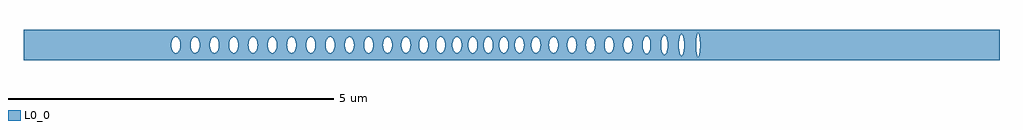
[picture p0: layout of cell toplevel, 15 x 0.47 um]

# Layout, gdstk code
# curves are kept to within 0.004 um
import gdstk
lib = gdstk.Library(unit=1e-6, precision=1e-09)
def P(c, l, *ps):  # polygons
    for p in ps: c.add(gdstk.Polygon(p, *l))
L0_0 = (0, 0)

toplevel = lib.new_cell('toplevel')
P(toplevel, L0_0, [(-4.611,-0.235),(-4.611,-0.096),(-4.628,-0.06),(-4.636,-0.016),(-4.632,0.046),(-4.611,0.096),(-4.611,0.235),(-7.5,0.235),(-7.5,-0.016),(-5.229,-0.016),(-5.226,0.038),(-5.216,0.073),(-5.193,0.109),(-5.163,0.124),(-5.137,0.118),(-5.114,0.096),(-5.093,0.046),(-5.089,-0.008),(-4.933,-0.008),(-4.93,0.038),(-4.917,0.079),(-4.896,0.109),(-4.867,0.124),(-4.841,0.118),(-4.814,0.09),(-4.797,0.046),(-4.792,0.008),(-4.795,-0.038),(-4.805,-0.073),(-4.832,-0.112),(-4.858,-0.124),(-4.884,-0.118),(-4.911,-0.09),(-4.928,-0.046),(-4.933,-0.008),(-5.089,-0.008),(-5.093,-0.046),(-5.114,-0.096),(-5.137,-0.118),(-5.155,-0.124),(-5.181,-0.118),(-5.204,-0.096),(-5.221,-0.06),(-5.229,-0.016),(-7.5,-0.016),(-7.5,-0.235)],
  [(-4.043,0.016),(-4.033,0.066),(-4.011,0.105),(-3.986,0.122),(-3.96,0.122),(-3.96,0.235),(-4.611,0.235),(-4.611,0.096),(-4.588,0.118),(-4.57,0.124),(-4.553,0.122),(-4.532,0.109),(-4.504,0.06),(-4.496,-0.008),(-4.34,-0.008),(-4.337,0.038),(-4.327,0.073),(-4.3,0.112),(-4.274,0.124),(-4.248,0.118),(-4.221,0.09),(-4.204,0.046),(-4.199,0.008),(-4.201,-0.031),(-4.215,-0.079),(-4.236,-0.109),(-4.265,-0.124),(-4.291,-0.118),(-4.318,-0.09),(-4.335,-0.046),(-4.34,-0.008),(-4.496,-0.008),(-4.504,-0.06),(-4.532,-0.109),(-4.553,-0.122),(-4.57,-0.124),(-4.588,-0.118),(-4.611,-0.096),(-4.611,-0.235),(-3.96,-0.235),(-3.96,-0.122),(-3.991,-0.12),(-4.018,-0.096),(-4.039,-0.046)],
  [(-3.45,0.016),(-3.446,0.046),(-3.431,0.085),(-3.414,0.109),(-3.393,0.122),(-3.367,0.122),(-3.346,0.109),(-3.316,0.053),(-3.316,0.235),(-3.96,0.235),(-3.96,0.122),(-3.935,0.105),(-3.916,0.073),(-3.906,0.038),(-3.903,-0.008),(-3.747,-0.008),(-3.744,0.038),(-3.734,0.073),(-3.711,0.109),(-3.681,0.124),(-3.655,0.118),(-3.628,0.09),(-3.611,0.046),(-3.606,0.008),(-3.608,-0.031),(-3.622,-0.079),(-3.643,-0.109),(-3.672,-0.124),(-3.703,-0.115),(-3.725,-0.09),(-3.742,-0.046),(-3.747,-0.008),(-3.903,-0.008),(-3.916,-0.073),(-3.935,-0.105),(-3.96,-0.122),(-3.96,-0.235),(-3.316,-0.235),(-3.316,-0.053),(-3.346,-0.109),(-3.376,-0.124),(-3.402,-0.118),(-3.425,-0.096),(-3.44,-0.066)],
  [(-3.312,-0.031),(-3.316,-0.235),(-2.552,-0.235),(-2.552,-0.06),(-2.561,-0.016),(-2.552,0.059),(-2.552,0.235),(-3.316,0.235),(-3.316,0.051),(-3.31,-0.016),(-3.154,-0.016),(-3.151,0.038),(-3.141,0.073),(-3.118,0.109),(-3.088,0.124),(-3.062,0.118),(-3.035,0.09),(-3.018,0.046),(-3.013,0),(-2.858,0),(-2.853,0.046),(-2.832,0.096),(-2.809,0.118),(-2.783,0.124),(-2.765,0.118),(-2.742,0.096),(-2.725,0.06),(-2.717,0.016),(-2.718,-0.026),(-2.73,-0.073),(-2.749,-0.105),(-2.774,-0.122),(-2.805,-0.12),(-2.832,-0.096),(-2.853,-0.046),(-2.858,0),(-3.013,0),(-3.018,-0.046),(-3.032,-0.085),(-3.05,-0.109),(-3.079,-0.124),(-3.105,-0.118),(-3.129,-0.096),(-3.141,-0.073),(-3.154,-0.016),(-3.31,-0.016)],
  [(-2.55,0.066),(-2.525,0.109),(-2.504,0.122),(-2.477,0.122),(-2.453,0.105),(-2.436,0.079),(-2.422,0.031),(-2.42,-0.008),(-2.266,-0.008),(-2.261,0.046),(-2.247,0.085),(-2.217,0.118),(-2.191,0.124),(-2.161,0.109),(-2.144,0.085),(-2.128,0.038),(-2.125,-0.008),(-2.128,-0.038),(-2.144,-0.085),(-2.161,-0.109),(-2.191,-0.124),(-2.217,-0.118),(-2.244,-0.09),(-2.261,-0.046),(-2.266,-0.008),(-2.42,-0.008),(-2.425,-0.046),(-2.439,-0.085),(-2.457,-0.109),(-2.486,-0.124),(-2.504,-0.122),(-2.525,-0.109),(-2.552,-0.06),(-2.552,-0.235),(-1.914,-0.235),(-1.914,-0.123),(-1.95,-0.096),(-1.967,-0.06),(-1.975,-0.016),(-1.972,0.038),(-1.962,0.073),(-1.943,0.105),(-1.914,0.123),(-1.914,0.235),(-2.552,0.235)],
  [(-1.42,0.016),(-1.407,0.073),(-1.395,0.096),(-1.372,0.118),(-1.355,0.124),(-1.328,0.118),(-1.299,0.085),(-1.299,0.235),(-1.914,0.235),(-1.914,0.123),(-1.883,0.118),(-1.853,0.085),(-1.839,0.046),(-1.835,-0.008),(-1.693,-0.008),(-1.691,0.031),(-1.677,0.079),(-1.656,0.109),(-1.627,0.124),(-1.601,0.118),(-1.577,0.096),(-1.565,0.073),(-1.552,0.016),(-1.555,-0.038),(-1.565,-0.073),(-1.588,-0.109),(-1.618,-0.124),(-1.644,-0.118),(-1.671,-0.09),(-1.688,-0.046),(-1.693,-0.008),(-1.835,-0.008),(-1.839,-0.046),(-1.86,-0.096),(-1.883,-0.118),(-1.914,-0.123),(-1.914,-0.235),(-1.299,-0.235),(-1.299,-0.085),(-1.316,-0.109),(-1.337,-0.122),(-1.363,-0.122),(-1.384,-0.109),(-1.412,-0.06)],
  [(-0.665,-0.008),(-0.664,0.235),(-1.299,0.235),(-1.299,0.085),(-1.283,0.038),(-1.28,-0.016),(-1.159,-0.016),(-1.156,0.038),(-1.146,0.073),(-1.123,0.109),(-1.093,0.124),(-1.067,0.118),(-1.037,0.085),(-1.023,0.046),(-1.018,-0.008),(-0.908,-0.008),(-0.906,0.031),(-0.892,0.079),(-0.871,0.109),(-0.842,0.124),(-0.816,0.118),(-0.789,0.09),(-0.772,0.046),(-0.767,0.008),(-0.77,-0.038),(-0.78,-0.073),(-0.807,-0.112),(-0.833,-0.124),(-0.859,-0.118),(-0.886,-0.09),(-0.903,-0.046),(-0.908,-0.008),(-1.018,-0.008),(-1.023,-0.046),(-1.037,-0.085),(-1.055,-0.109),(-1.084,-0.124),(-1.11,-0.118),(-1.134,-0.096),(-1.146,-0.073),(-1.159,-0.016),(-1.28,-0.016),(-1.286,-0.053),(-1.299,-0.085),(-1.299,-0.235),(-0.664,-0.235)],
  [(-0.661,0.038),(-0.649,0.079),(-0.632,0.105),(-0.608,0.122),(-0.585,0.123),(-0.56,0.109),(-0.537,0.073),(-0.527,0.038),(-0.524,-0.016),(-0.426,-0.016),(-0.423,0.038),(-0.407,0.085),(-0.378,0.118),(-0.351,0.124),(-0.322,0.109),(-0.304,0.085),(-0.29,0.046),(-0.285,0),(-0.29,-0.046),(-0.304,-0.085),(-0.322,-0.109),(-0.351,-0.124),(-0.378,-0.118),(-0.401,-0.096),(-0.418,-0.06),(-0.426,-0.016),(-0.524,-0.016),(-0.537,-0.073),(-0.549,-0.096),(-0.568,-0.115),(-0.59,-0.124),(-0.616,-0.118),(-0.636,-0.1),(-0.654,-0.066),(-0.664,-0.026),(-0.664,-0.235),(-0.145,-0.235),(-0.145,-0.115),(-0.164,-0.096),(-0.176,-0.073),(-0.189,-0.016),(-0.186,0.038),(-0.176,0.073),(-0.164,0.096),(-0.145,0.115),(-0.145,0.235),(-0.664,0.235)],
  [(0.306,0.016),(0.321,0.079),(0.342,0.109),(0.362,0.122),(0.38,0.124),(0.402,0.115),(0.417,0.1),(0.417,0.235),(-0.145,0.235),(-0.145,0.115),(-0.114,0.124),(-0.097,0.118),(-0.077,0.1),(-0.053,0.046),(-0.048,-0.008),(0.052,-0.008),(0.055,0.038),(0.065,0.073),(0.088,0.109),(0.118,0.124),(0.144,0.118),(0.171,0.09),(0.188,0.046),(0.193,0.008),(0.191,-0.031),(0.177,-0.079),(0.156,-0.109),(0.127,-0.124),(0.096,-0.115),(0.074,-0.09),(0.057,-0.046),(0.052,-0.008),(-0.048,-0.008),(-0.059,-0.066),(-0.081,-0.105),(-0.114,-0.124),(-0.145,-0.115),(-0.145,-0.235),(0.417,-0.235),(0.417,-0.1),(0.402,-0.115),(0.38,-0.124),(0.362,-0.122),(0.338,-0.105),(0.321,-0.079),(0.31,-0.046)],
  [(0.417,0.235),(0.417,0.1),(0.441,0.046),(0.446,-0.008),(0.575,-0.008),(0.58,0.046),(0.591,0.079),(0.612,0.109),(0.641,0.124),(0.668,0.118),(0.691,0.096),(0.71,0.053),(0.716,0.016),(0.713,-0.038),(0.703,-0.073),(0.68,-0.109),(0.65,-0.124),(0.624,-0.118),(0.601,-0.096),(0.584,-0.06),(0.575,-0.008),(0.446,-0.008),(0.433,-0.073),(0.417,-0.1),(0.417,-0.235),(0.998,-0.235),(0.998,-0.016),(0.99,-0.06),(0.973,-0.096),(0.95,-0.118),(0.932,-0.124),(0.906,-0.118),(0.883,-0.096),(0.866,-0.06),(0.858,-0.016),(0.861,0.038),(0.871,0.073),(0.89,0.105),(0.919,0.123),(0.946,0.12),(0.973,0.096),(0.99,0.06),(0.998,0.016),(0.998,0.235)],
  [(1.72,0.023),(1.741,0.09),(1.741,0.235),(0.998,0.235),(0.998,-0.016),(1.144,-0.016),(1.147,0.038),(1.157,0.073),(1.18,0.109),(1.21,0.124),(1.236,0.118),(1.266,0.085),(1.28,0.046),(1.284,-0.016),(1.43,-0.016),(1.433,0.038),(1.443,0.073),(1.466,0.109),(1.496,0.124),(1.522,0.118),(1.545,0.096),(1.562,0.06),(1.571,0.008),(1.566,-0.046),(1.555,-0.079),(1.534,-0.109),(1.505,-0.124),(1.478,-0.118),(1.455,-0.096),(1.436,-0.053),(1.43,-0.016),(1.284,-0.016),(1.266,-0.085),(1.248,-0.109),(1.219,-0.124),(1.192,-0.118),(1.169,-0.096),(1.152,-0.06),(1.144,-0.016),(0.998,-0.016),(0.998,-0.235),(1.741,-0.235),(1.741,-0.09),(1.722,-0.038)],
  [(1.748,0.1),(1.767,0.118),(1.785,0.124),(1.802,0.122),(1.823,0.109),(1.851,0.06),(1.859,-0.009),(2.015,-0.009),(2.019,0.051),(2.034,0.101),(2.064,0.136),(2.087,0.136),(2.108,0.117),(2.125,0.081),(2.136,-0.017),(2.131,-0.059),(2.117,-0.101),(2.102,-0.125),(2.087,-0.136),(2.072,-0.138),(2.053,-0.128),(2.034,-0.101),(2.019,-0.051),(2.015,-0.009),(1.859,-0.009),(1.844,-0.079),(1.811,-0.118),(1.794,-0.124),(1.776,-0.122),(1.755,-0.109),(1.741,-0.09),(1.741,-0.235),(2.377,-0.235),(2.377,-0.128),(2.366,-0.145),(2.353,-0.152),(2.329,-0.138),(2.309,-0.089),(2.3,-0.019),(2.304,0.065),(2.323,0.128),(2.347,0.152),(2.366,0.145),(2.377,0.128),(2.377,0.235),(1.741,0.235),(1.741,0.09)],
  [(2.4,-0.028),(2.395,-0.073),(2.377,-0.128),(2.377,-0.235),(7.5,-0.235),(7.5,0.235),(2.377,0.235),(2.377,0.128),(2.395,0.073),(2.401,-0.01),(2.572,-0.01),(2.583,0.114),(2.593,0.145),(2.61,0.166),(2.628,0.154),(2.643,0.114),(2.652,0.051),(2.653,-0.023),(2.837,-0.023),(2.845,0.123),(2.856,0.167),(2.866,0.18),(2.874,0.177),(2.883,0.158),(2.896,0.077),(2.895,-0.087),(2.883,-0.158),(2.87,-0.18),(2.858,-0.171),(2.848,-0.139),(2.837,-0.023),(2.653,-0.023),(2.643,-0.114),(2.633,-0.145),(2.615,-0.166),(2.6,-0.158),(2.583,-0.114),(2.572,-0.01),(2.401,-0.01)])

lib.write_gds('toplevel.gds')
